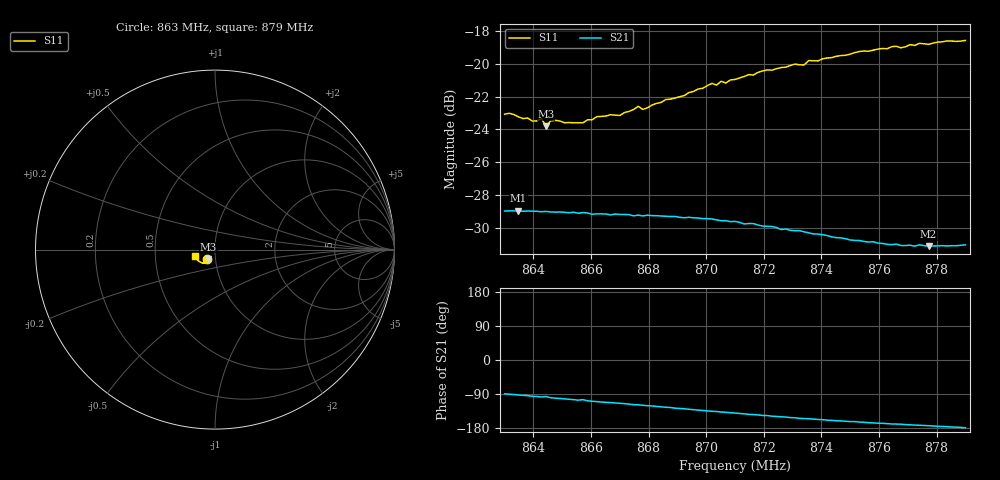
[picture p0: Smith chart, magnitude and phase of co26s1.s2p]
# HZ S RI R 50
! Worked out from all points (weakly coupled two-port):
!   101 points, 863 MHz to 879 MHz, reference 50 ohm
!   highest |S21| = -28.95 dB at 863.48 MHz (marker M1); lowest = -31.1 dB at 877.72 MHz (marker M2)
!   lowest |S11| = -23.8 dB at 864.44 MHz (marker M3), VSWR 1.14, Z = 46.1 - j4.85 ohm
!   |S11| at or under -10 dB: start of sweep to end of sweep
!   S12 and S22 are empty: the file has one direction only
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8.63e8  -0.0444 -0.0544  0.000447 -0.0356  0 0  0 0
8.6348e8  -0.0423 -0.0544  -0.00146 -0.0357  0 0  0 0
8.6396e8  -0.039 -0.0544  -0.00349 -0.0354  0 0  0 0
8.6428e8  -0.0391 -0.0557  -0.00475 -0.0351  0 0  0 0
8.6444e8  -0.0378 -0.0523  -0.00393 -0.0353  0 0  0 0
8.646e8  -0.038 -0.0552  -0.00587 -0.0349  0 0  0 0
8.6476e8  -0.0379 -0.0556  -0.00661 -0.0347  0 0  0 0
8.6572e8  -0.0316 -0.058  -0.00884 -0.0341  0 0  0 0
8.662e8  -0.0356 -0.0592  -0.0118 -0.0328  0 0  0 0
8.67e8  -0.0343 -0.0606  -0.0143 -0.0317  0 0  0 0
8.6764e8  -0.0357 -0.0651  -0.0164 -0.0305  0 0  0 0
8.678e8  -0.0354 -0.0634  -0.0169 -0.03  0 0  0 0
8.6844e8  -0.036 -0.0673  -0.019 -0.0286  0 0  0 0
8.702e8  -0.0451 -0.0746  -0.0239 -0.0237  0 0  0 0
8.7036e8  -0.0443 -0.0738  -0.024 -0.0233  0 0  0 0
8.7052e8  -0.047 -0.075  -0.0244 -0.0226  0 0  0 0
8.7068e8  -0.0463 -0.0741  -0.0248 -0.0222  0 0  0 0
8.71e8  -0.0494 -0.0747  -0.0254 -0.0213  0 0  0 0
8.7372e8  -0.0691 -0.0752  -0.0277 -0.0124  0 0  0 0
8.7644e8  -0.0945 -0.0615  -0.0276 -0.00547  0 0  0 0
8.7772e8  -0.1025 -0.0511  -0.0277 -0.00323  0 0  0 0
8.79e8  -0.1115 -0.0381  -0.0281 -0.000564  0 0  0 0
